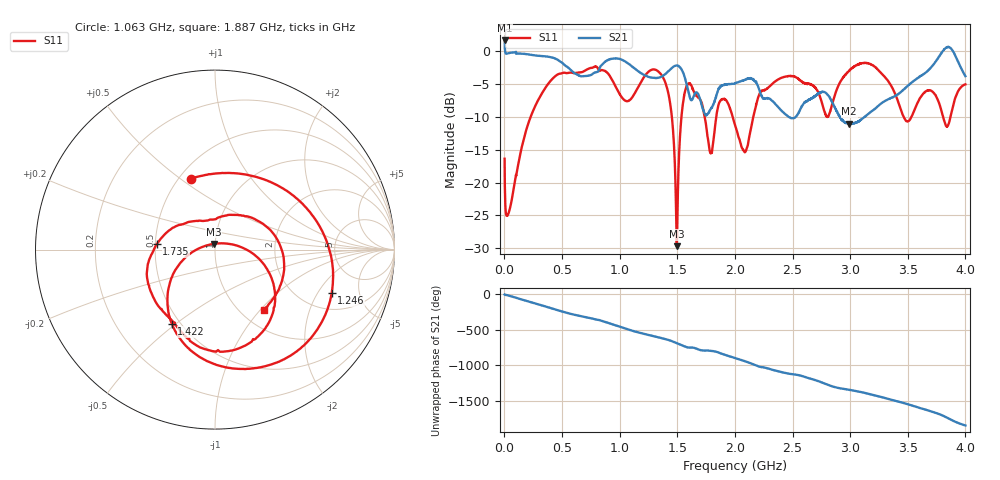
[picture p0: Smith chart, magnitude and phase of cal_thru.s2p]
!Created with skrf (http://scikit-rf.org).
# GHz S RI R 50.0
!freq ReS11 ImS11 ReS21 ImS21 ReS12 ImS12 ReS22 ImS22
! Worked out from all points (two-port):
!   4000 points, 1 MHz to 4 GHz, reference 50 ohm
!   highest |S21| = 1.64 dB at 1 MHz (marker M1); lowest = -11.0 dB at 2.992 GHz (marker M2)
!   |S21| within 3 dB of the highest: start of sweep to 466.8 MHz; 3.751 GHz to 3.931 GHz (180.4 MHz wide, 4.7 % of centre) (the widest 2 of 3)
!   lowest |S11| = -29.7 dB at 1.495 GHz (marker M3), VSWR 1.07, Z = 49.1 + j3.14 ohm
!   |S11| at or under -10 dB: start of sweep to 226.8 MHz; 1.738 GHz to 1.838 GHz (99.91 MHz wide, 5.59 % of centre); 1.98 GHz to 2.159 GHz (178.8 MHz wide, 8.64 % of centre) (the widest 3 of 7)
!   S12 and S22 are empty: the file has one direction only
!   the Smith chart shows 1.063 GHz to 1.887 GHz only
!   S11 on the Smith chart (normalised r, x): 1.063 GHz: 0.57, +0.55; 1.246 GHz: 2.88, -2.67; 1.422 GHz: 0.45, -0.48; 1.735 GHz: 0.51, +0.03; 1.887 GHz: 1.27, -1.04
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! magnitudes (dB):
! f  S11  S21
! 1 MHz  -16.4  1.6
! 35 MHz  -24.7  -0.3
! 365 MHz  -5.3  -0.8
! 668 MHz  -3.2  -3.8
! 1.063 GHz  -7.6  -1.7
! 1.246 GHz  -3.2  -3.9
! 1.334 GHz  -3.1  -4.0
! 1.422 GHz  -6.4  -3.1
! 1.495 GHz  -29.7  -2.2
! 1.578 GHz  -5.4  -4.9
! 1.735 GHz  -9.7  -9.4
! 1.793 GHz  -15.5  -8.7
! 1.887 GHz  -7.3  -5.2
! 2.001 GHz  -11.2  -4.9
! 2.087 GHz  -15.3  -4.3
! 2.228 GHz  -6.1  -6.7
! 2.667 GHz  -5.1  -7.2
! 2.805 GHz  -10.0  -6.6
! 2.992 GHz  -3.0  -11.0
! 3.334 GHz  -4.7  -7.3
! 3.839 GHz  -11.5  0.6
! 4 GHz  -5.0  -3.8
